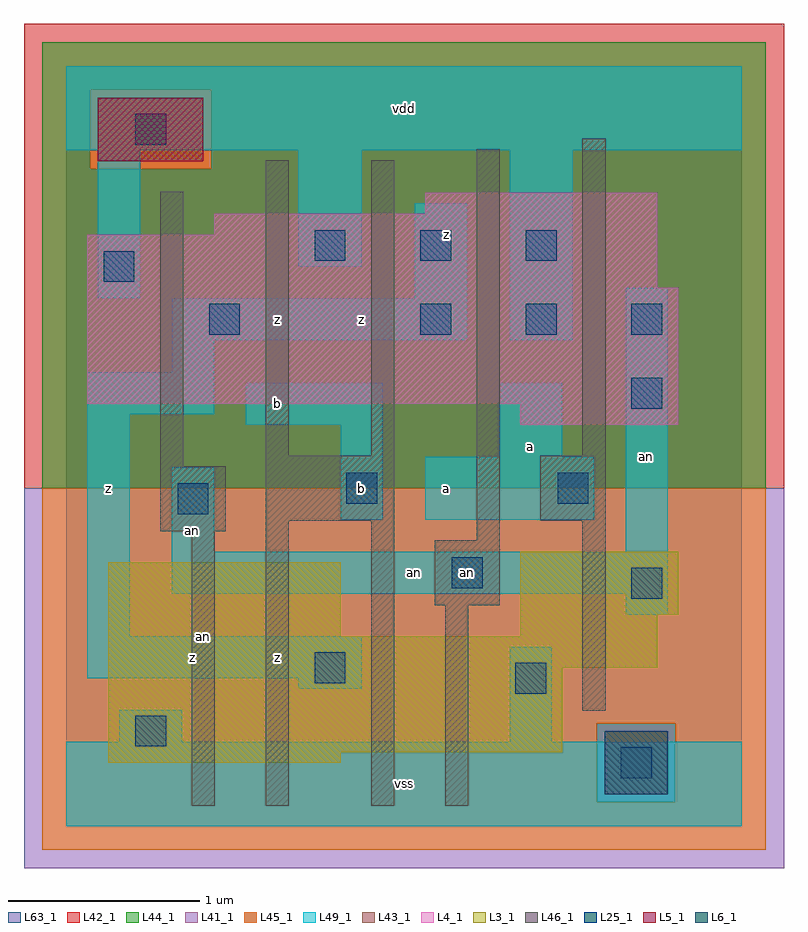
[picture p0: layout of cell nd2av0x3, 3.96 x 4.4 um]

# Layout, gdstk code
import gdstk
lib = gdstk.Library(unit=1e-6, precision=1e-09)
def R(c, l, rs):  # rectangles x0, y0, x1, y1
    for r in rs: c.add(gdstk.rectangle(r[:2], r[2:], *l))
def A(c, l, x, y, w, h, nx, ny, dx, dy):  # array of equal rectangles
    R(c, l, [(x+i*dx, y+j*dy, x+i*dx+w, y+j*dy+h) for i in range(nx) for j in range(ny)])
L3_1 = (3, 1)
L4_1 = (4, 1)
L5_1 = (5, 1)
L6_1 = (6, 1)
L25_1 = (25, 1)
L41_1 = (41, 1)
L42_1 = (42, 1)
L43_1 = (43, 1)
L44_1 = (44, 1)
L45_1 = (45, 1)
L46_1 = (46, 1)
L49_1 = (49, 1)
L63_1 = (63, 1)

nd2av0x3 = lib.new_cell('nd2av0x3')
R(nd2av0x3, L3_1, [(0.22,0.33,1.43,0.385), (0.22,0.385,2.585,0.825), (0.22,0.825,3.08,0.99), (0.22,0.99,1.43,1.375), (2.365,0.99,3.08,1.1), (2.365,1.1,3.19,1.43)])
R(nd2av0x3, L4_1, [(2.365,2.09,3.19,2.2), (0.11,2.2,3.19,2.805), (0.11,2.805,3.08,3.08), (0.77,3.08,3.08,3.19), (1.87,3.19,3.08,3.3)])
R(nd2av0x3, L5_1, [(0.165,3.465,0.715,3.795)])
R(nd2av0x3, L6_1, [(2.805,0.165,3.135,0.495)])
A(nd2av0x3, L25_1, 1.845, 2.56, 0.16, 0.16, 3, 1, 0.55, 0)
A(nd2av0x3, L25_1, 1.295, 2.945, 0.16, 0.16, 3, 1, 0.55, 0)
R(nd2av0x3, L25_1, [(2.89,0.25,3.05,0.41), (0.36,0.415,0.52,0.575), (2.34,0.69,2.5,0.85), (1.295,0.745,1.455,0.905), (2.945,1.185,3.105,1.345), (2.01,1.24,2.17,1.4), (0.58,1.625,0.74,1.785), (1.46,1.68,1.62,1.84), (2.56,1.68,2.72,1.84), (2.945,2.175,3.105,2.335), (0.745,2.56,0.905,2.72), (0.195,2.835,0.355,2.995), (0.36,3.55,0.52,3.71)])
R(nd2av0x3, L41_1, [(-0.22,-0.22,3.74,1.76)])
R(nd2av0x3, L42_1, [(-0.22,1.76,3.74,4.18)])
R(nd2av0x3, L43_1, [(2.805,0.165,3.135,0.495), (0.22,0.33,1.43,0.385), (0.22,0.385,2.585,0.825), (0.22,0.825,3.08,0.99), (0.22,0.99,1.43,1.375), (2.365,0.99,3.08,1.1), (2.365,1.1,3.19,1.43), (2.365,2.09,3.19,2.2), (0.11,2.2,3.19,2.805), (0.11,2.805,3.08,3.08), (0.77,3.08,3.08,3.19), (1.87,3.19,3.08,3.3), (0.165,3.465,0.715,3.795)])
R(nd2av0x3, L44_1, [(2.765,0.125,3.175,0.535), (-0.125,1.76,3.645,3.425), (-0.125,3.425,0.125,3.835), (0.755,3.425,3.645,3.835), (-0.125,3.835,3.645,4.085)])
R(nd2av0x3, L45_1, [(-0.125,-0.125,3.645,0.125), (-0.125,0.125,2.765,0.535), (3.175,0.125,3.645,0.535), (-0.125,0.535,3.645,1.76), (0.125,3.425,0.755,3.835)])
R(nd2av0x3, L46_1, [(0.655,0.105,0.775,1.535), (1.04,0.105,1.16,1.59), (1.59,0.105,1.71,1.59), (1.975,0.105,2.095,1.15), (2.69,0.6,2.81,1.59), (1.92,1.15,2.26,1.49), (2.14,1.49,2.26,3.525), (0.49,1.535,0.83,1.875), (1.04,1.59,1.71,1.93), (2.47,1.59,2.81,1.93), (0.49,1.875,0.61,3.305), (1.04,1.93,1.16,3.47), (1.59,1.93,1.71,3.47), (2.69,1.93,2.81,3.58)])
R(nd2av0x3, L49_1, [(0,0,3.52,0.44), (0.275,0.44,0.605,0.605), (2.31,0.44,2.53,0.935), (1.21,0.715,1.54,0.77), (0.11,0.77,1.54,0.99), (0.11,0.99,0.33,2.145), (2.915,1.1,3.135,1.21), (0.55,1.21,3.135,1.43), (0.55,1.43,0.77,1.87), (2.915,1.43,3.135,2.805), (1.43,1.595,1.65,2.09), (1.87,1.595,2.75,1.925), (2.255,1.925,2.585,2.31), (0.935,2.09,1.65,2.31), (0.11,2.145,0.77,2.365), (0.55,2.365,0.77,2.53), (0.55,2.53,2.09,2.75), (2.31,2.53,2.64,3.52), (0.165,2.75,0.385,3.52), (1.815,2.75,2.09,3.245), (1.21,2.915,1.54,3.52), (0,3.52,3.52,3.96)])
R(nd2av0x3, L63_1, [(0,0,3.52,3.96)])
nd2av0x3.add(gdstk.Label('an', (0.715,0.99), layer=46, texttype=1))
nd2av0x3.add(gdstk.Label('an', (2.09,1.32), layer=49, texttype=1))
nd2av0x3.add(gdstk.Label('z', (0.66,0.88), layer=49, texttype=1))
nd2av0x3.add(gdstk.Label('an', (0.66,1.54), layer=49, texttype=1))
nd2av0x3.add(gdstk.Label('z', (0.22,1.76), layer=49, texttype=1))
nd2av0x3.add(gdstk.Label('z', (1.1,0.88), layer=49, texttype=1))
nd2av0x3.add(gdstk.Label('b', (1.54,1.76), layer=49, texttype=1))
nd2av0x3.add(gdstk.Label('b', (1.1,2.2), layer=49, texttype=1))
nd2av0x3.add(gdstk.Label('z', (1.1,2.64), layer=49, texttype=1))
nd2av0x3.add(gdstk.Label('z', (1.54,2.64), layer=49, texttype=1))
nd2av0x3.add(gdstk.Label('vss', (1.76,0.22), layer=49, texttype=1))
nd2av0x3.add(gdstk.Label('a', (1.98,1.76), layer=49, texttype=1))
nd2av0x3.add(gdstk.Label('a', (2.42,1.98), layer=49, texttype=1))
nd2av0x3.add(gdstk.Label('z', (1.98,3.08), layer=49, texttype=1))
nd2av0x3.add(gdstk.Label('vdd', (1.76,3.74), layer=49, texttype=1))
nd2av0x3.add(gdstk.Label('an', (1.815,1.32), layer=49, texttype=1))
nd2av0x3.add(gdstk.Label('an', (3.025,1.925), layer=49, texttype=1))

lib.write_gds('nd2av0x3.gds')
